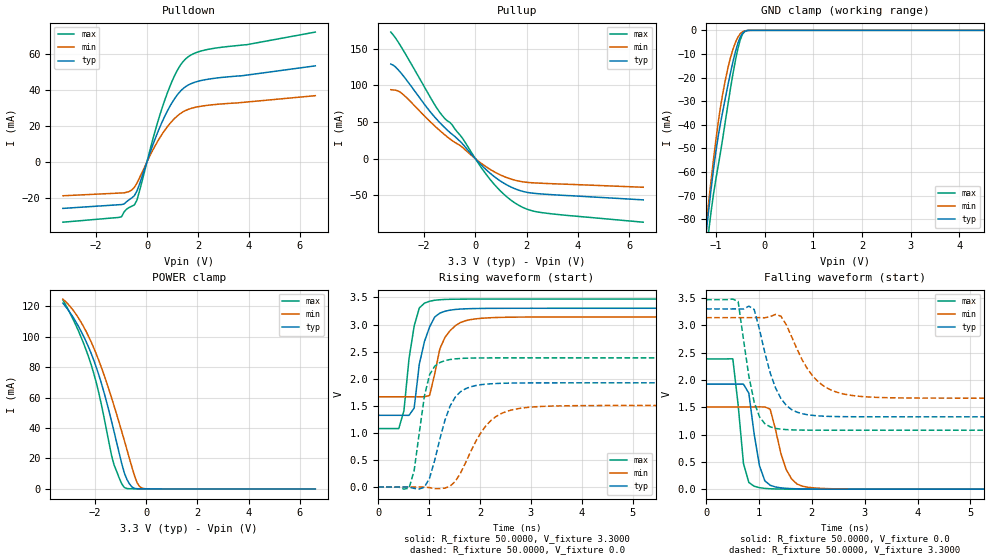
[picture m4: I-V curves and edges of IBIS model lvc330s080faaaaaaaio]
| [Disclaimer] This IBIS source code is intended as a design reference
| which illustrates how the Lattice Semiconductor device operates.
| It is the user's responsibility to verify their design for
| consistency and functionality through the use of formal
| verification methods.  Lattice Semiconductor provides no warranty
| regarding the use or functionality of this data.
| [Copyright] Copyright 2007 by Lattice Semiconductor Corporation
| From FPGA_DSP_Impl1.ibs, XO2, Lattice Semiconductor Corp.
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[Model]   lvc330s080faaaaaaaio
Model_type   I/O
Polarity   Non-Inverting
Enable   Active-Low
Vinl =   0.8000V
Vinh =   2.0000V
Vmeas =   1.500000V
Cref =   0.0F
Rref =   1.0000M
Vref =   0.0V
C_comp   4.2000pF   3.8000pF   7.5000pF
[Temperature Range]   25.0000   0.1050k   -40.0000
[Voltage Range]   3.3000V   3.1400V   3.4700V
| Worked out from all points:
|   slope of the pulldown table from 0 to 0.495 V, typ, clamps not added: 26 ohm
|   slope of the pullup table from 0 to 0.495 V, typ, clamps not added: 28.6 ohm
|   GND clamp passes 1 mA (typ) near -0.44 V on its own axis
|   POWER clamp passes 1 mA (typ) near -0.53 V on its own axis
|   rising waveform, R_fixture 50.0000, V_fixture 3.3000: 20-80 % time 251ps typ, 301ps min, 192ps max; typ from 1.32 V to 3.3 V
|   rising waveform, R_fixture 50.0000, V_fixture 0.0: 20-80 % time 363ps typ, 551ps min, 235ps max; typ from 0 V to 1.92 V
|   falling waveform, R_fixture 50.0000, V_fixture 0.0: 20-80 % time 188ps typ, 267ps min, 144ps max; typ from 1.92 V to 0 V
|   falling waveform, R_fixture 50.0000, V_fixture 3.3000: 20-80 % time 370ps typ, 535ps min, 253ps max; typ from 3.3 V to 1.32 V
[Pulldown]
|Voltage   I(typ)   I(min)   I(max)
-3.3V     -25.83mA   -18.79mA   -33.5mA
-1.1V     -23.77mA   -17.3mA    -30.84mA
-1V       -23.68mA   -17.23mA   -30.47mA
-900mV    -23.37mA   -17.16mA   -27.8mA
-500mV    -18.8mA    -14.15mA   -23.94mA
-400mV    -16.31mA   -11.83mA   -21.38mA
300mV     12.25mA    8.591mA    16.42mA
800mV     28.44mA    19.69mA    38.55mA
1.2V      37.61mA    25.79mA    51.38mA
1.6V      42.73mA    29.21mA    58.43mA
2.4V      46.1mA     31.61mA    62.73mA
6.6V      53.54mA    36.92mA    72.33mA
[Pullup]
|Voltage   I(typ)   I(min)   I(max)
-3.3V     128.8mA    93.95mA    172.4mA
-3V       120.6mA    92.03mA    158.2mA
-2.8V     112.3mA    86.85mA    146.8mA
-1.4V     49.53mA    38.67mA    63.64mA
-900mV    33.03mA    24.54mA    45.88mA
-500mV    20.17mA    15.28mA    27.8mA
500mV     -17.49mA   -12.87mA   -24.94mA
1V        -30.92mA   -22.47mA   -44.7mA
1.4V      -38.75mA   -27.83mA   -56.76mA
1.9V      -44.93mA   -31.72mA   -67.1mA
2.5V      -47.81mA   -33.29mA   -72.93mA
6.55V     -56.07mA   -38.89mA   -86.46mA
[GND_clamp]
|Voltage   I(typ)   I(min)   I(max)
-3.3V     -955.2mA   -930.2mA   -977.8mA
-1.2V     -86.07mA   -82.87mA   -94.72mA
-1.15V    -76.63mA   -73.23mA   -85.56mA
-1.1V     -67.6mA    -63.89mA   -77.1mA
-1V       -51.41mA   -46.51mA   -63.05mA
-900mV    -38.77mA   -31.83mA   -51.09mA
-800mV    -28.16mA   -20.53mA   -37.81mA
-700mV    -18.01mA   -11.59mA   -24.66mA
-600mV    -9.192mA   -5.229mA   -12.92mA
-450mV    -1.151mA   -576.6uA   -1.527mA
-300mV    -17.4uA    -15.66uA   -11.6uA
6.6V      0A         0A         0A
[POWER_clamp]
|Voltage   I(typ)   I(min)   I(max)
-3.25V    122.1mA    124.8mA    124.2mA
-2.65V    107.1mA    112.6mA    104.1mA
-2.35V    97.06mA    103.7mA    91.56mA
-2.05V    84.81mA    92.86mA    76.2mA
-1.65V    63.69mA    75.19mA    47.4mA
-1.35V    44.32mA    59.82mA    21.89mA
-1.25V    37.38mA    54.39mA    15.53mA
-850mV    10.3mA     31.63mA    860uA
-650mV    3.168mA    19.76mA    65.53uA
-350mV    73.34uA    3.862mA    3.121uA
-150mV    17.77uA    366.8uA    -28.16uA
6.6V      -143.8uA   -91.66uA   -226.3uA
[Ramp]
| variable   typ   min   max
dV/dt_r  1.1542/0.3590n   0.9035/0.5460n   1.4308/0.2329n
dV/dt_f  1.1855/0.3662n   0.8843/0.5297n   1.4345/0.2507n
R_load = 50.0000
[Rising Waveform]
R_fixture=   50.0000
V_fixture=   3.3000
V_fixture_min=   3.1400
V_fixture_max=   3.4700
|time   V(typ)   V(min)   V(max)
0s        1.324V     1.666V     1.079V
404ps     1.324V     1.666V     1.079V
505.1ps   1.324V     1.666V     1.407V
606.1ps   1.323V     1.666V     2.373V
707.1ps   1.46V      1.666V     2.973V
808.1ps   2.269V     1.667V     3.306V
1.01ns    2.956V     1.691V     3.43V
1.313ns   3.246V     2.765V     3.463V
1.818ns   3.293V     3.091V     3.469V
10ns      3.3V       3.14V      3.47V
[Rising Waveform]
R_fixture=   50.0000
V_fixture=   0.0
V_fixture_min=   0.0
V_fixture_max=   0.0
|time   V(typ)   V(min)   V(max)
0s        830nV      1.065uV    812.2nV
606.1ps   -647.3uV   2.343uV    -19.28mV
707.1ps   -25.56mV   18.24uV    307.2mV
909.1ps   -1.644mV   -352.6uV   1.685V
1.01ns    168.3mV    -10.05mV   2.075V
1.313ns   1.24V      -19.03mV   2.334V
1.717ns   1.816V     450.2mV    2.378V
2.121ns   1.9V       1.136V     2.384V
2.727ns   1.921V     1.444V     2.385V
10ns      1.924V     1.506V     2.385V
[Falling Waveform]
R_fixture=   50.0000
V_fixture=   0.0
V_fixture_min=   0.0
V_fixture_max=   0.0
|time   V(typ)   V(min)   V(max)
0s        1.924V     1.506V     2.385V
505.1ps   1.924V     1.506V     2.387V
707.1ps   1.923V     1.506V     469.1mV
808.1ps   1.757V     1.506V     123.1mV
1.01ns    427.9mV    1.507V     27.45mV
1.212ns   71.02mV    1.464V     7.412mV
1.414ns   24.43mV    655.3mV    2.129mV
1.616ns   9.884mV    189mV      652.9uV
1.919ns   2.628mV    35.9mV     184.5uV
10ns      -6.753uV   -8.585uV   -14.06uV
[Falling Waveform]
R_fixture=   50.0000
V_fixture=   3.3000
V_fixture_min=   3.1400
V_fixture_max=   3.4700
|time   V(typ)   V(min)   V(max)
0s        3.3V       3.14V      3.47V
606.1ps   3.3V       3.14V      3.436V
808.1ps   3.351V     3.14V      2.072V
909.1ps   3.292V     3.14V      1.597V
1.111ns   2.497V     3.138V     1.198V
1.313ns   1.855V     3.2V       1.113V
1.616ns   1.458V     2.796V     1.086V
2.02ns    1.35V      2.067V     1.08V
2.626ns   1.327V     1.737V     1.079V
10ns      1.324V     1.666V     1.079V
